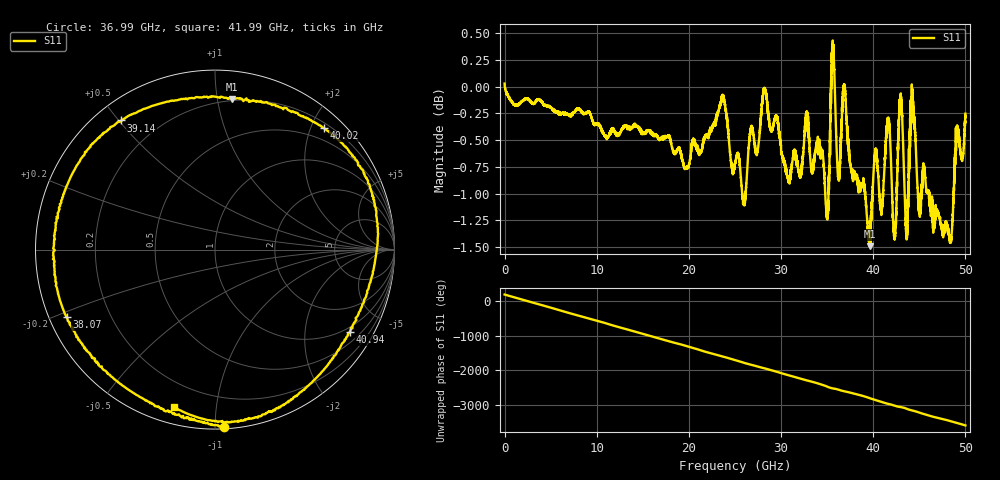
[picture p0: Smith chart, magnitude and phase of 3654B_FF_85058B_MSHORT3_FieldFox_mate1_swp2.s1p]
!Created with skrf (http://scikit-rf.org).
# Hz S RI R 50.0
!freq ReS11 ImS11
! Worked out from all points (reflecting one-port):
!   10000 points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, 5.3 MHz to 50 GHz, reference 50 ohm
!   lowest |S11| = -1.5 dB at 39.62 GHz (marker M1), VSWR 11.69, Z = 9.54 + j55 ohm
!   phase of S11 starts at 180 deg and turns -3761 deg over the sweep
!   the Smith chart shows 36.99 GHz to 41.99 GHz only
!   S11 on the Smith chart (normalised r, x): 36.99 GHz: 0.01, -1.05; 38.07 GHz: 0.05, -0.22; 39.14 GHz: 0.07, +0.51; 40.02 GHz: 0.29, +2.21; 40.94 GHz: 0.82, -3.38; 41.99 GHz: 0.08, -0.77
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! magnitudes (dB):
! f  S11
! 5.3 MHz  0.0
! 6.255 GHz  -0.3
! 12.51 GHz  -0.4
! 18.76 GHz  -0.6
! 23.68 GHz  -0.1
! 25.01 GHz  -0.7
! 26.01 GHz  -1.1
! 28.22 GHz  0.0
! 31.26 GHz  -0.7
! 34.96 GHz  -1.2
! 35.6 GHz  0.3
! 36.23 GHz  -0.9
! 36.99 GHz  -0.1
! 37.51 GHz  -0.7
! 38.07 GHz  -0.8
! 39.14 GHz  -1.0
! 39.62 GHz  -1.5
! 40.02 GHz  -0.8
! 40.94 GHz  -1.1
! 41.58 GHz  -0.3
! 41.99 GHz  -0.8
! 42.36 GHz  -1.4
! 42.98 GHz  -0.1
! 43.76 GHz  -1.1
! 44.28 GHz  -0.2
! 45 GHz  -1.2
! 48.34 GHz  -1.4
! 50 GHz  -0.3
